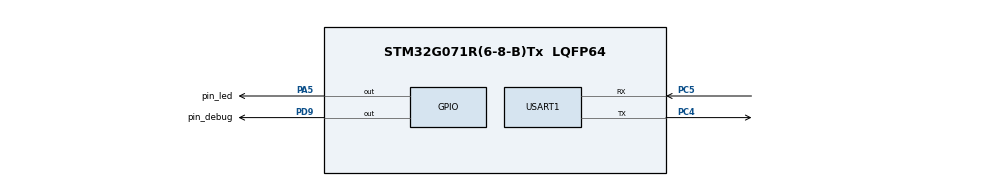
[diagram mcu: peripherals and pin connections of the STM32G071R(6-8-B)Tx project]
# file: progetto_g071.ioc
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Mcu.Family=STM32G0
Mcu.Name=STM32G071R(6-8-B)Tx
Mcu.Package=LQFP64
NVIC.USART1_IRQn=true\:0\:0\:false\:false\:true\:true\:true
PA5.GPIO_Label=pin_led
PA5.Signal=GPIO_Output
PC4.Mode=Asynchronous
PC4.Signal=USART1_TX
PC5.Mode=Asynchronous
PC5.Signal=USART1_RX
PD9.GPIO_Label=pin_debug
PD9.Signal=GPIO_Output
ProjectManager.HeapSize=0x200
ProjectManager.StackSize=0x400
ProjectManager.TargetToolchain=STM32CubeIDE
RCC.ADCFreq_Value=64000000
RCC.AHBFreq_Value=64000000
RCC.CortexFreq_Value=64000000
RCC.EXTERNAL_CLOCK_VALUE=48000
RCC.HCLKFreq_Value=64000000
RCC.HSE_VALUE=8000000
RCC.HSI_VALUE=16000000
RCC.LSE_VALUE=32768
RCC.SYSCLKFreq_VALUE=64000000
RCC.SYSCLKSource=RCC_SYSCLKSOURCE_PLLCLK
RCC.VCOOutputFreq_Value=128000000
USART1.VirtualMode-Asynchronous=VM_ASYNC
VP_SYS_VS_DBSignals.Mode=DisableDeadBatterySignals
board=custom

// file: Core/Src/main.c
/* USER CODE BEGIN Header */
/**
  ******************************************************************************
  * @file           : main.c
  * @brief          : Main program body
  ******************************************************************************
  * @attention
  *
  * <h2><center>&copy; Copyright (c) 2021 STMicroelectronics.
  * All rights reserved.</center></h2>
  *
  * This software component is licensed by ST under BSD 3-Clause license,
  * the "License"; You may not use this file except in compliance with the
  * License. You may obtain a copy of the License at:
  *                        opensource.org/licenses/BSD-3-Clause
  *
  ******************************************************************************
  */
/* USER CODE END Header */
#include "main.h"

/* USER CODE BEGIN PV */
uint32_t				sys_tick_cnt;
byte_io 				contatore;
/* USER CODE END PV */

void SystemClock_Config(void);
static void MX_GPIO_Init(void);
static void MX_USART1_UART_Init(void);
/* USER CODE BEGIN PFP */
extern void init_communication(void);
extern void main_communication (void);
extern void lettura_dati_lettori (void);
/* USER CODE END PFP */

int main(void)
{

  /* MCU Configuration--------------------------------------------------------*/

  /* Reset of all peripherals, Initializes the Flash interface and the Systick. */

  LL_APB2_GRP1_EnableClock(LL_APB2_GRP1_PERIPH_SYSCFG);
  LL_APB1_GRP1_EnableClock(LL_APB1_GRP1_PERIPH_PWR);

  /* System interrupt init*/

  /** Disable the internal Pull-Up in Dead Battery pins of UCPD peripheral
  */
  LL_SYSCFG_DisableDBATT(LL_SYSCFG_UCPD1_STROBE | LL_SYSCFG_UCPD2_STROBE);

  /* Configure the system clock */
  SystemClock_Config();

  /* USER CODE BEGIN SysInit */
	NVIC_EnableIRQ(SysTick_IRQn);
	SysTick->CTRL |= SysTick_CTRL_TICKINT_Msk;
  /* USER CODE END SysInit */

  /* Initialize all configured peripherals */
  MX_GPIO_Init();
  MX_USART1_UART_Init();
  /* USER CODE BEGIN 2 */
  uint32_t loc_tim;
  loc_tim = sys_tick_cnt;
  /* USER CODE END 2 */

  /* Infinite loop */
  /* USER CODE BEGIN WHILE */
  init_communication();
	__enable_irq();
	contatore.byte_a = 0;

	while (1)
  {
		if ((sys_tick_cnt - loc_tim) >= 30)
		{
			loc_tim = sys_tick_cnt;
//			LL_GPIO_TogglePin(pin_led_GPIO_Port, pin_led_Pin);
//			LL_GPIO_TogglePin(pin_debug_GPIO_Port, pin_debug_Pin);
			main_communication();
			lettura_dati_lettori();
			contatore.byte_a++;
		}
    /* USER CODE END WHILE */

  }
}

void SystemClock_Config(void)
{
  LL_FLASH_SetLatency(LL_FLASH_LATENCY_2);
  while(LL_FLASH_GetLatency() != LL_FLASH_LATENCY_2)
  {
  }

  /* HSI configuration and activation */
  LL_RCC_HSI_Enable();
  while(LL_RCC_HSI_IsReady() != 1)
  {
  }

  /* Main PLL configuration and activation */
  LL_RCC_PLL_ConfigDomain_SYS(LL_RCC_PLLSOURCE_HSI, LL_RCC_PLLM_DIV_1, 8, LL_RCC_PLLR_DIV_2);
  LL_RCC_PLL_Enable();
  LL_RCC_PLL_EnableDomain_SYS();
  while(LL_RCC_PLL_IsReady() != 1)
  {
  }

  /* Set AHB prescaler*/
  LL_RCC_SetAHBPrescaler(LL_RCC_SYSCLK_DIV_1);

  /* Sysclk activation on the main PLL */
  LL_RCC_SetSysClkSource(LL_RCC_SYS_CLKSOURCE_PLL);
  while(LL_RCC_GetSysClkSource() != LL_RCC_SYS_CLKSOURCE_STATUS_PLL)
  {
  }

  /* Set APB1 prescaler*/
  LL_RCC_SetAPB1Prescaler(LL_RCC_APB1_DIV_1);
  LL_Init1msTick(64000000);
  /* Update CMSIS variable (which can be updated also through SystemCoreClockUpdate function) */
  LL_SetSystemCoreClock(64000000);
  LL_RCC_SetUSARTClockSource(LL_RCC_USART1_CLKSOURCE_PCLK1);
}

static void MX_USART1_UART_Init(void)
{

  LL_USART_InitTypeDef USART_InitStruct = {0};

  LL_GPIO_InitTypeDef GPIO_InitStruct = {0};

  /* Peripheral clock enable */
  LL_APB2_GRP1_EnableClock(LL_APB2_GRP1_PERIPH_USART1);

  LL_IOP_GRP1_EnableClock(LL_IOP_GRP1_PERIPH_GPIOC);
  /**USART1 GPIO Configuration
  PC4   ------> USART1_TX
  PC5   ------> USART1_RX
  */
  GPIO_InitStruct.Pin = LL_GPIO_PIN_4;
  GPIO_InitStruct.Mode = LL_GPIO_MODE_ALTERNATE;
  GPIO_InitStruct.Speed = LL_GPIO_SPEED_FREQ_LOW;
  GPIO_InitStruct.OutputType = LL_GPIO_OUTPUT_PUSHPULL;
  GPIO_InitStruct.Pull = LL_GPIO_PULL_NO;
  GPIO_InitStruct.Alternate = LL_GPIO_AF_1;
  LL_GPIO_Init(GPIOC, &GPIO_InitStruct);

  GPIO_InitStruct.Pin = LL_GPIO_PIN_5;
  GPIO_InitStruct.Mode = LL_GPIO_MODE_ALTERNATE;
  GPIO_InitStruct.Speed = LL_GPIO_SPEED_FREQ_LOW;
  GPIO_InitStruct.OutputType = LL_GPIO_OUTPUT_PUSHPULL;
  GPIO_InitStruct.Pull = LL_GPIO_PULL_NO;
  GPIO_InitStruct.Alternate = LL_GPIO_AF_1;
  LL_GPIO_Init(GPIOC, &GPIO_InitStruct);

  /* USART1 interrupt Init */
  NVIC_SetPriority(USART1_IRQn, 0);
  NVIC_EnableIRQ(USART1_IRQn);

  USART_InitStruct.PrescalerValue = LL_USART_PRESCALER_DIV1;
  USART_InitStruct.BaudRate = 115200;
  USART_InitStruct.DataWidth = LL_USART_DATAWIDTH_8B;
  USART_InitStruct.StopBits = LL_USART_STOPBITS_1;
  USART_InitStruct.Parity = LL_USART_PARITY_NONE;
  USART_InitStruct.TransferDirection = LL_USART_DIRECTION_TX_RX;
  USART_InitStruct.HardwareFlowControl = LL_USART_HWCONTROL_NONE;
  USART_InitStruct.OverSampling = LL_USART_OVERSAMPLING_16;
  LL_USART_Init(USART1, &USART_InitStruct);
  LL_USART_SetTXFIFOThreshold(USART1, LL_USART_FIFOTHRESHOLD_1_8);
  LL_USART_SetRXFIFOThreshold(USART1, LL_USART_FIFOTHRESHOLD_1_8);
  LL_USART_DisableFIFO(USART1);
  LL_USART_ConfigAsyncMode(USART1);

  LL_USART_Enable(USART1);

  /* Polling USART1 initialisation */
  while((!(LL_USART_IsActiveFlag_TEACK(USART1))) || (!(LL_USART_IsActiveFlag_REACK(USART1))))
  {
  }

}

static void MX_GPIO_Init(void)
{
  LL_GPIO_InitTypeDef GPIO_InitStruct = {0};

  /* GPIO Ports Clock Enable */
  LL_IOP_GRP1_EnableClock(LL_IOP_GRP1_PERIPH_GPIOA);
  LL_IOP_GRP1_EnableClock(LL_IOP_GRP1_PERIPH_GPIOC);
  LL_IOP_GRP1_EnableClock(LL_IOP_GRP1_PERIPH_GPIOD);

  /**/
  LL_GPIO_ResetOutputPin(pin_led_GPIO_Port, pin_led_Pin);

  /**/
  LL_GPIO_ResetOutputPin(pin_debug_GPIO_Port, pin_debug_Pin);

  /**/
  GPIO_InitStruct.Pin = pin_led_Pin;
  GPIO_InitStruct.Mode = LL_GPIO_MODE_OUTPUT;
  GPIO_InitStruct.Speed = LL_GPIO_SPEED_FREQ_LOW;
  GPIO_InitStruct.OutputType = LL_GPIO_OUTPUT_PUSHPULL;
  GPIO_InitStruct.Pull = LL_GPIO_PULL_NO;
  LL_GPIO_Init(pin_led_GPIO_Port, &GPIO_InitStruct);

  /**/
  GPIO_InitStruct.Pin = pin_debug_Pin;
  GPIO_InitStruct.Mode = LL_GPIO_MODE_OUTPUT;
  GPIO_InitStruct.Speed = LL_GPIO_SPEED_FREQ_LOW;
  GPIO_InitStruct.OutputType = LL_GPIO_OUTPUT_PUSHPULL;
  GPIO_InitStruct.Pull = LL_GPIO_PULL_NO;
  LL_GPIO_Init(pin_debug_GPIO_Port, &GPIO_InitStruct);

}

void Error_Handler(void)
{
  __disable_irq();
  while (1)
  {
  }
}

/************************ (C) COPYRIGHT STMicroelectronics *****END OF FILE****/
